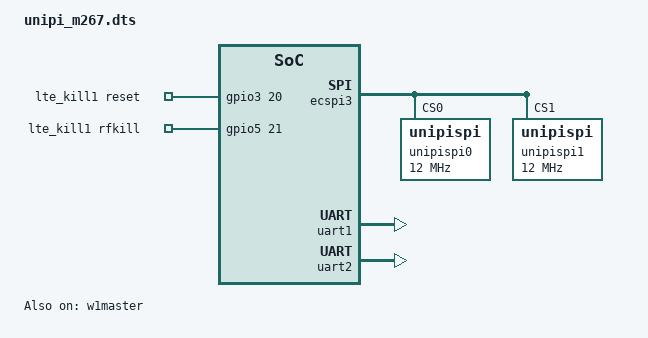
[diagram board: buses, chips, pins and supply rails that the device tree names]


/dts-v1/;
/plugin/;
/ {
	compatible = "unipi,zulu";

	fragment@0 {
		target = <&ecspi3>;
		__overlay__ {
			status = "okay";
			#address-cells = <1>;
			#size-cells = <0>;unipispi0: unipispi@0 {
				compatible = "unipispi";
				reg = <0>;
				spi-max-frequency = <12000000>;
				status = "okay";
				modbus-address = <1>;
				probe-always-succeeds = <0>;
				allow-protocol-v2 = <1>;
				#address-cells = <1>;
				#size-cells = <0>;
				iogroup1: iogroup1 {
					reg = <1>;
					compatible = "unipi,unipi-mfd", "iogroup";
					fw_variant = <0x0010>, <0x0020>, <0x0030>;
					fw_name = "B-1000-1", "B-1000-2", "B-1000-3";
					board_name = "B-1000-1";
					sys_board_name = "B_1000";
					cycle_counter = <1032>;
					master_watchdog_enable = <6>;

					di {
						compatible = "unipi,gpio-di";
						gpio-controller;
						#gpio-cells = <2>;
						gpio-line-names = "DI1_1", "DI1_2", "DI1_3", "DI1_4";
						ngpio = <4>;
						value-reg = <0>;
						debounce-reg = <1010>;
						counter-reg = <8>;
					};
					do {
						compatible = "unipi,gpio-do";
						ngpio = <4>;
						value-coil = <0>;
						gpio-controller;
						#gpio-cells = <2>;
						gpio-line-names = "DO1_1", "DO1_2", "DO1_3", "DO1_4";
					};
					aio {
						compatible = "unipi,aio_legacy";
						ai-value-reg = <3>;
						ai-mode-reg = <1024>;
						ao-value-reg = <2>;
						ao-mode-reg = <1019>;
					};
					uart {
						compatible = "unipi,uart";
						port-count = <1>;
						port-line = <0>;
					};
					led {
						compatible = "unipi,leds";
						coil-range = <8 4>;
						label-prefix = "unipi:green:uled-x";
					};
					sysleds0:sysled {
						compatible = "unipi,leds";
						coil-range = <12 6>;
						#address-cells = <1>;
						#size-cells = <0>;
						label-prefix = "unipi:green:sysled-x";
					};
				};
			};
		unipispi1: unipispi@1 {
				compatible = "unipispi";
				reg = <1>;
				spi-max-frequency = <12000000>;
				status = "okay";
				modbus-address = <2>;
				probe-always-succeeds = <0>;
				allow-protocol-v2 = <1>;
				#address-cells = <1>;
				#size-cells = <0>;
				iogroup2: iogroup2 {
					reg = <2>;
					compatible = "unipi,unipi-mfd", "iogroup";
					fw_variant = <0x0810>;
					fw_name = "E-16Di_U-14Ro-1";
					board_name = "E-16Di_U-14Ro-1";
					sys_board_name = "E_16Di_U_14Ro";
					cycle_counter = <1031>;
					master_watchdog_enable = <2>;

					di {
						compatible = "unipi,gpio-di";
						gpio-controller;
						#gpio-cells = <2>;
						gpio-line-names = "DI1_1","DI1_2","DI1_3","DI1_4","DI1_5","DI1_6","DI1_7","DI1_8","DI1_9","DI1_10","DI1_11","DI1_12","DI1_13","DI1_14","DI1_15","DI1_16";
						ngpio = <16>;
						value-reg = <0>;
						debounce-reg = <1010>;
						counter-reg = <3>;
					};
					do {
						compatible = "unipi,gpio-ro";
						ngpio = <14>;
						value-coil = <0>;
						gpio-controller;
						#gpio-cells = <2>;
						gpio-line-names = "RO1_1","RO1_2","RO1_3","RO1_4","RO1_5","RO1_6","RO1_7","RO1_8","RO1_9","RO1_10","RO1_11","RO1_12","RO1_13","RO1_14";
					};
				};
			};
		
		};
	};

	fragment@1 {
		target = <&usbotg1>;
		__overlay__ {
			#address-cells = <1>;
			#size-cells = <0>;
			usbslot1@1 {
				reg = <1>;
			};
		};
	};
	fragment@5 {
		target = <&w1master>;
		__overlay__ {
			status = "okay";
		};
	};

	
	fragment@10 {
		target = <&uart1>;
		__overlay__ {
			status = "okay";
			linux,rs485-enabled-at-boot-time;
		};
	};
	fragment@11 {
		target = <&uart2>;
		__overlay__ {
			status = "okay";
		};
	};

	fragment@12 {
		target-path = "/";
		__overlay__ {
			lte_kill1 {
				compatible = "unipi,rfkill-quectel912";
				type = "wwan";
				algo = "pulse";
				reset-gpio = <&gpio3 20 0>;
				rfkill-gpio = <&gpio5 21 0>;
				monitor-usb = "usbslot1";
			};
		};
	}; 

};


&iogroup1 {
	pinctrl-names = "default";
	pinctrl-0 = <&pinctrl_slotirq0>; 
	interrupt-parent = <&gpio4>;
	interrupts = <23 1>; /* EDGE RISING*/
};



&iogroup2 {
	pinctrl-names = "default";
	pinctrl-0 = <&pinctrl_slotirq1>; 
	interrupt-parent = <&gpio5>;
	interrupts = <20 1>; /* EDGE RISING*/
};





&sysleds0 {
	lte-sim@0 {
		reg = <0>;
	};
	lte-net@1 {
		reg = <1>;
	};
	lte-sig@2 {
		reg = <2>;
	};
	lte-int@3 {
		reg = <3>;
	};
	rs485-2-txled@4 {
		reg = <4>;
		linux,default-trigger = "ttymxc0-tx";
	};
	rs485-2-rxled@5 {
		reg = <5>;
		linux,default-trigger = "ttymxc0-rx";
	};
};
